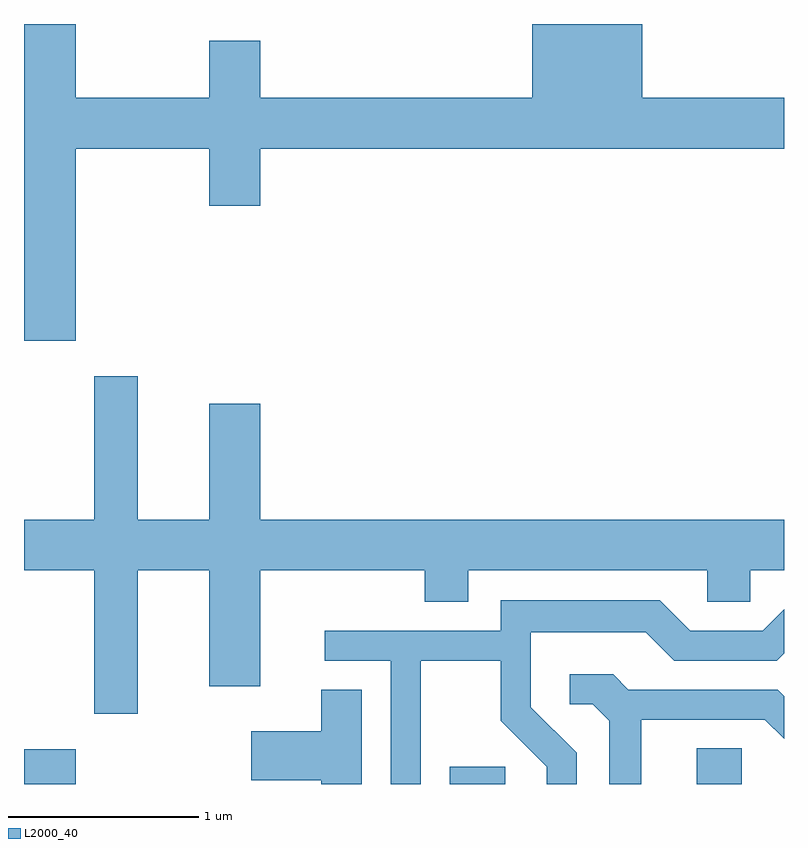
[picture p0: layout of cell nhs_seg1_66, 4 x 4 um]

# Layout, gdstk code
import gdstk
lib = gdstk.Library(unit=1e-6, precision=1e-09)
def R(c, l, rs):  # rectangles x0, y0, x1, y1
    for r in rs: c.add(gdstk.rectangle(r[:2], r[2:], *l))
def P(c, l, *ps):  # polygons
    for p in ps: c.add(gdstk.Polygon(p, *l))
L2000_40 = (2000, 40)

nhs_seg1_66 = lib.new_cell('nhs_seg1_66')
R(nhs_seg1_66, L2000_40, [(185.611,971.712,185.884,971.894), (187.851,971.712,188.144,971.804), (189.151,971.712,189.389,971.899)])
P(nhs_seg1_66, L2000_40, [(185.884,975.056),(186.586,975.056),(186.586,974.756),(186.854,974.756),(186.854,975.056),(189.611,975.056),(189.611,975.324),(188.864,975.324),(188.864,975.712),(188.286,975.712),(188.286,975.324),(186.854,975.324),(186.854,975.624),(186.586,975.624),(186.586,975.324),(185.884,975.324),(185.884,975.712),(185.611,975.712),(185.611,974.046),(185.884,974.046)],
  [(186.209,972.836),(186.586,972.836),(186.586,972.226),(186.854,972.226),(186.854,972.836),(187.721,972.836),(187.721,972.671),(187.949,972.671),(187.949,972.836),(189.206,972.836),(189.206,972.671),(189.434,972.671),(189.434,972.836),(189.611,972.836),(189.611,973.104),(186.854,973.104),(186.854,973.714),(186.586,973.714),(186.586,973.104),(186.209,973.104),(186.209,973.859),(185.981,973.859),(185.981,973.104),(185.611,973.104),(185.611,972.836),(185.981,972.836),(185.981,972.081),(186.209,972.081)],
  [(187.699,972.361),(188.121,972.361),(188.121,972.044),(188.361,971.804),(188.361,971.712),(188.519,971.712),(188.519,971.877),(188.279,972.117),(188.279,972.511),(188.884,972.511),(189.034,972.361),(189.572,972.361),(189.611,972.4),(189.611,972.631),(189.499,972.519),(189.117,972.519),(188.957,972.679),(188.121,972.679),(188.121,972.519),(187.193,972.519),(187.193,972.361),(187.541,972.361),(187.541,971.712),(187.699,971.712)],
  [(188.859,972.051),(189.509,972.051),(189.611,971.949),(189.611,972.175),(189.577,972.209),(188.792,972.209),(188.712,972.289),(188.483,972.289),(188.483,972.131),(188.604,972.131),(188.691,972.044),(188.691,971.712),(188.859,971.712)],
  [(187.389,972.209),(187.176,972.209),(187.176,971.989),(186.806,971.989),(186.806,971.731),(187.176,971.731),(187.176,971.712),(187.389,971.712)])

lib.write_gds('nhs_seg1_66.gds')
